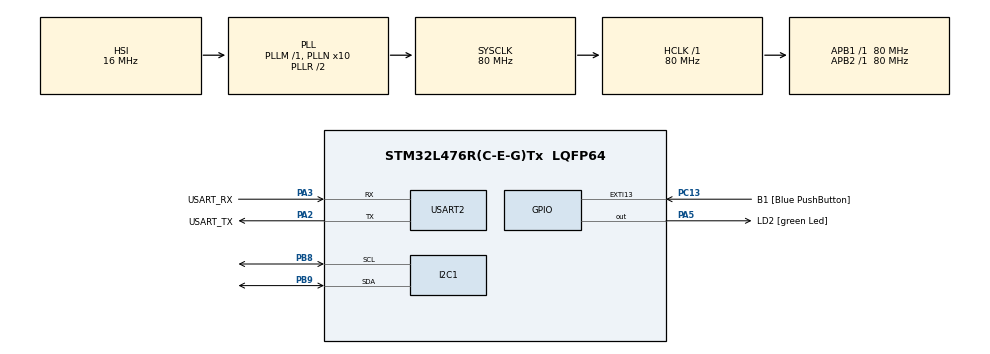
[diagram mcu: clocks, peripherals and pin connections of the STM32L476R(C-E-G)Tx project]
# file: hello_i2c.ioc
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Mcu.Family=STM32L4
PA2.GPIO_PuPd=GPIO_NOPULL
VP_SYS_VS_tim6.Mode=TIM6
RCC.CortexFreq_Value=80000000
NVIC.TIM6_DAC_IRQn=true\:0\:0\:false\:false\:true\:false\:false\:true
PH0-OSC_IN\ (PH0).Signal=RCC_OSC_IN
PA3.GPIO_PuPd=GPIO_NOPULL
PA2.GPIO_Speed=GPIO_SPEED_FREQ_VERY_HIGH
PC15-OSC32_OUT\ (PC15).Mode=LSE-External-Oscillator
PC13.GPIO_Label=B1 [Blue PushButton]
PA3.GPIO_Speed=GPIO_SPEED_FREQ_VERY_HIGH
RCC.SYSCLKSource=RCC_SYSCLKSOURCE_PLLCLK
ProjectManager.StackSize=0x400
PB3\ (JTDO-TRACESWO).Signal=SYS_JTDO-SWO
PC14-OSC32_IN\ (PC14).Mode=LSE-External-Oscillator
VP_FREERTOS_VS_CMSIS_V2.Mode=CMSIS_V2
PA14\ (JTCK-SWCLK).Signal=SYS_JTCK-SWCLK
RCC.HCLKFreq_Value=80000000
RCC.APB2TimFreq_Value=80000000
RCC.AHBFreq_Value=80000000
RCC.PREFETCH_ENABLE=1
RCC.HSE_VALUE=8000000
USART2.VirtualMode-Asynchronous=VM_ASYNC
PA5.GPIO_PuPd=GPIO_NOPULL
PC13.GPIO_PuPd=GPIO_NOPULL
Mcu.Package=LQFP64
PB9.Signal=I2C1_SDA
NVIC.TimeBase=TIM6_DAC_IRQn
PA2.GPIO_Label=USART_TX
NVIC.TimeBaseIP=TIM6
RCC.APB1TimFreq_Value=80000000
PA13\ (JTMS-SWDIO).Signal=SYS_JTMS-SWDIO
PA3.Signal=USART2_RX
PA2.GPIO_Mode=GPIO_MODE_AF_PP
RCC.MSI_VALUE=4000000
RCC.PLLSourceVirtual=RCC_PLLSOURCE_HSI
PA14\ (JTCK-SWCLK).Mode=Serial_Wire
FREERTOS.Tasks01=bme280Task,24,128,StartBME280Task,Default,NULL,Dynamic,NULL,NULL
PC13.Signal=GPXTI13
PC15-OSC32_OUT\ (PC15).Signal=RCC_OSC32_OUT
PA14\ (JTCK-SWCLK).GPIO_Label=TCK
PB3\ (JTDO-TRACESWO).GPIO_Label=SWO
PH1-OSC_OUT\ (PH1).Signal=RCC_OSC_OUT
PA3.Mode=Asynchronous
ProjectManager.TargetToolchain=STM32CubeIDE
PA3.GPIO_Mode=GPIO_MODE_AF_PP
PB9.Mode=I2C
I2C1.Timing=0x10909CEC
RCC.USBFreq_Value=64000000
PA5.Signal=GPIO_Output
board=NUCLEO-L476RG
RCC.VCOOutputFreq_Value=160000000
RCC.APB2Freq_Value=80000000
PA5.GPIO_ModeDefaultOutputPP=GPIO_MODE_OUTPUT_PP
PA13\ (JTMS-SWDIO).GPIO_Label=TMS
RCC.ADCFreq_Value=64000000
Mcu.Name=STM32L476R(C-E-G)Tx
PA2.Signal=USART2_TX
PA13\ (JTMS-SWDIO).Mode=Serial_Wire
RCC.SYSCLKFreq_VALUE=80000000
PA5.GPIO_Label=LD2 [green Led]
PC13.GPIO_ModeDefaultEXTI=GPIO_MODE_IT_FALLING
PC14-OSC32_IN\ (PC14).Signal=RCC_OSC32_IN
ProjectManager.HeapSize=0x200
RCC.HSI_VALUE=16000000
PA5.GPIO_Speed=GPIO_SPEED_FREQ_LOW
NVIC.PriorityGroup=NVIC_PRIORITYGROUP_4
RCC.PLLN=10
PB8.Mode=I2C
PA2.Mode=Asynchronous
PB8.Signal=I2C1_SCL
RCC.APB1Freq_Value=80000000
PA3.GPIO_Label=USART_RX

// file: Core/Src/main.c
/* USER CODE BEGIN Header */
/**
  ******************************************************************************
  * @file           : main.c
  * @brief          : Main program body
  ******************************************************************************
  * @attention
  *
  * <h2><center>&copy; Copyright (c) 2021 STMicroelectronics.
  * All rights reserved.</center></h2>
  *
  * This software component is licensed by ST under BSD 3-Clause license,
  * the "License"; You may not use this file except in compliance with the
  * License. You may obtain a copy of the License at:
  *                        opensource.org/licenses/BSD-3-Clause
  *
  ******************************************************************************
  */
/* USER CODE END Header */
#include "main.h"
#include "cmsis_os.h"

/* USER CODE BEGIN Includes */
#include <stdlib.h>
#include <string.h>
#include "bme280.h"
#include "tof.h"

/* USER CODE END Includes */

/* USER CODE BEGIN PTD */
#ifdef __GNUC__
	#define PUTCHAR_PROTOTYPE int __io_putchar(int ch)
#else
	#define PUTCHAR_PROTOTYPE int fputc(int ch, FILE *f)
#endif /* __GNUC__ */
/* USER CODE END PTD */

I2C_HandleTypeDef hi2c1;

UART_HandleTypeDef huart2;

/* Definitions for bme280Task */
osThreadId_t bme280TaskHandle;
const osThreadAttr_t bme280Task_attributes = {
  .name = "bme280Task",
  .stack_size = 128 * 4,
  .priority = (osPriority_t) osPriorityNormal,
};

void SystemClock_Config(void);
static void MX_GPIO_Init(void);
static void MX_USART2_UART_Init(void);
static void MX_I2C1_Init(void);
void StartBME280Task(void *argument);

/* USER CODE BEGIN 0 */
PUTCHAR_PROTOTYPE
{
	HAL_UART_Transmit(&huart2, (uint8_t *)&ch, 1, 0xFFFF);
	return ch;
}

float temperature;
float humidity;
float pressure;

struct bme280_dev dev;
struct bme280_data comp_data;
int8_t rslt;

char line1[16];
char line2[16];

int8_t user_i2c_read(uint8_t id, uint8_t reg_addr, uint8_t *data, uint16_t len)
{
  if(HAL_I2C_Master_Transmit(&hi2c1, (id << 1), &reg_addr, 1, 10) != HAL_OK) return -1;
  if(HAL_I2C_Master_Receive(&hi2c1, (id << 1) | 0x01, data, len, 10) != HAL_OK) return -1;

  return 0;
}

void user_delay_ms(uint32_t period)
{
  HAL_Delay(period);
}

int8_t user_i2c_write(uint8_t id, uint8_t reg_addr, uint8_t *data, uint16_t len)
{
  int8_t *buf;
  buf = malloc(len +1);
  buf[0] = reg_addr;
  memcpy(buf +1, data, len);

  if(HAL_I2C_Master_Transmit(&hi2c1, (id << 1), (uint8_t*)buf, len + 1, HAL_MAX_DELAY) != HAL_OK) return -1;

  free(buf);
  return 0;
}

volatile int model = 0;
volatile int revision = 0;

/* USER CODE END 0 */

int main(void)
{

  /* MCU Configuration--------------------------------------------------------*/

  /* Reset of all peripherals, Initializes the Flash interface and the Systick. */
  HAL_Init();

  /* Configure the system clock */
  SystemClock_Config();

  /* Initialize all configured peripherals */
  MX_GPIO_Init();
  MX_USART2_UART_Init();
  MX_I2C1_Init();
  /* USER CODE BEGIN 2 */

  dev.dev_id = BME280_I2C_ADDR_PRIM;
  dev.intf = BME280_I2C_INTF;
  dev.read = user_i2c_read;
  dev.write = user_i2c_write;
  dev.delay_ms = user_delay_ms;

  rslt = bme280_init(&dev);

  dev.settings.osr_h = BME280_OVERSAMPLING_1X;
  dev.settings.osr_p = BME280_OVERSAMPLING_16X;
  dev.settings.osr_t = BME280_OVERSAMPLING_2X;
  dev.settings.filter = BME280_FILTER_COEFF_16;
  rslt = bme280_set_sensor_settings(BME280_OSR_PRESS_SEL | BME280_OSR_TEMP_SEL | BME280_OSR_HUM_SEL | BME280_FILTER_SEL, &dev);

  // Init the VL53L0x
  tofInit(1); // set long range mode (up to 2m)
  tofGetModel(&model, &revision);

  // Re-init the VL53L0X if there is any problems
  while(model != 238 || revision != 16)
  {
  	while(HAL_I2C_DeInit(&hi2c1) != HAL_OK);
  	while(HAL_I2C_Init(&hi2c1) != HAL_OK);
    tofInit(1); // set long range mode (up to 2m)
    tofGetModel(&model, &revision);
  }

  /* USER CODE END 2 */

  /* Init scheduler */
  osKernelInitialize();

  /* Create the thread(s) */
  /* creation of bme280Task */
  bme280TaskHandle = osThreadNew(StartBME280Task, NULL, &bme280Task_attributes);

  /* Start scheduler */
  osKernelStart();

  /* We should never get here as control is now taken by the scheduler */
  /* Infinite loop */
  while (1)
  {

  }
}

void SystemClock_Config(void)
{
  RCC_OscInitTypeDef RCC_OscInitStruct = {0};
  RCC_ClkInitTypeDef RCC_ClkInitStruct = {0};
  RCC_PeriphCLKInitTypeDef PeriphClkInit = {0};

  /** Initializes the RCC Oscillators according to the specified parameters
  * in the RCC_OscInitTypeDef structure.
  */
  RCC_OscInitStruct.OscillatorType = RCC_OSCILLATORTYPE_HSI;
  RCC_OscInitStruct.HSIState = RCC_HSI_ON;
  RCC_OscInitStruct.HSICalibrationValue = RCC_HSICALIBRATION_DEFAULT;
  RCC_OscInitStruct.PLL.PLLState = RCC_PLL_ON;
  RCC_OscInitStruct.PLL.PLLSource = RCC_PLLSOURCE_HSI;
  RCC_OscInitStruct.PLL.PLLM = 1;
  RCC_OscInitStruct.PLL.PLLN = 10;
  RCC_OscInitStruct.PLL.PLLP = RCC_PLLP_DIV7;
  RCC_OscInitStruct.PLL.PLLQ = RCC_PLLQ_DIV2;
  RCC_OscInitStruct.PLL.PLLR = RCC_PLLR_DIV2;
  if (HAL_RCC_OscConfig(&RCC_OscInitStruct) != HAL_OK)
  {
    Error_Handler();
  }
  /** Initializes the CPU, AHB and APB buses clocks
  */
  RCC_ClkInitStruct.ClockType = RCC_CLOCKTYPE_HCLK|RCC_CLOCKTYPE_SYSCLK
                              |RCC_CLOCKTYPE_PCLK1|RCC_CLOCKTYPE_PCLK2;
  RCC_ClkInitStruct.SYSCLKSource = RCC_SYSCLKSOURCE_PLLCLK;
  RCC_ClkInitStruct.AHBCLKDivider = RCC_SYSCLK_DIV1;
  RCC_ClkInitStruct.APB1CLKDivider = RCC_HCLK_DIV1;
  RCC_ClkInitStruct.APB2CLKDivider = RCC_HCLK_DIV1;

  if (HAL_RCC_ClockConfig(&RCC_ClkInitStruct, FLASH_LATENCY_4) != HAL_OK)
  {
    Error_Handler();
  }
  PeriphClkInit.PeriphClockSelection = RCC_PERIPHCLK_USART2|RCC_PERIPHCLK_I2C1;
  PeriphClkInit.Usart2ClockSelection = RCC_USART2CLKSOURCE_PCLK1;
  PeriphClkInit.I2c1ClockSelection = RCC_I2C1CLKSOURCE_PCLK1;
  if (HAL_RCCEx_PeriphCLKConfig(&PeriphClkInit) != HAL_OK)
  {
    Error_Handler();
  }
  /** Configure the main internal regulator output voltage
  */
  if (HAL_PWREx_ControlVoltageScaling(PWR_REGULATOR_VOLTAGE_SCALE1) != HAL_OK)
  {
    Error_Handler();
  }
}

static void MX_I2C1_Init(void)
{

  hi2c1.Instance = I2C1;
  hi2c1.Init.Timing = 0x10909CEC;
  hi2c1.Init.OwnAddress1 = 0;
  hi2c1.Init.AddressingMode = I2C_ADDRESSINGMODE_7BIT;
  hi2c1.Init.DualAddressMode = I2C_DUALADDRESS_DISABLE;
  hi2c1.Init.OwnAddress2 = 0;
  hi2c1.Init.OwnAddress2Masks = I2C_OA2_NOMASK;
  hi2c1.Init.GeneralCallMode = I2C_GENERALCALL_DISABLE;
  hi2c1.Init.NoStretchMode = I2C_NOSTRETCH_DISABLE;
  if (HAL_I2C_Init(&hi2c1) != HAL_OK)
  {
    Error_Handler();
  }
  /** Configure Analogue filter
  */
  if (HAL_I2CEx_ConfigAnalogFilter(&hi2c1, I2C_ANALOGFILTER_ENABLE) != HAL_OK)
  {
    Error_Handler();
  }
  /** Configure Digital filter
  */
  if (HAL_I2CEx_ConfigDigitalFilter(&hi2c1, 0) != HAL_OK)
  {
    Error_Handler();
  }

}

static void MX_USART2_UART_Init(void)
{

  huart2.Instance = USART2;
  huart2.Init.BaudRate = 115200;
  huart2.Init.WordLength = UART_WORDLENGTH_8B;
  huart2.Init.StopBits = UART_STOPBITS_1;
  huart2.Init.Parity = UART_PARITY_NONE;
  huart2.Init.Mode = UART_MODE_TX_RX;
  huart2.Init.HwFlowCtl = UART_HWCONTROL_NONE;
  huart2.Init.OverSampling = UART_OVERSAMPLING_16;
  huart2.Init.OneBitSampling = UART_ONE_BIT_SAMPLE_DISABLE;
  huart2.AdvancedInit.AdvFeatureInit = UART_ADVFEATURE_NO_INIT;
  if (HAL_UART_Init(&huart2) != HAL_OK)
  {
    Error_Handler();
  }

}

static void MX_GPIO_Init(void)
{
  GPIO_InitTypeDef GPIO_InitStruct = {0};

  /* GPIO Ports Clock Enable */
  __HAL_RCC_GPIOC_CLK_ENABLE();
  __HAL_RCC_GPIOH_CLK_ENABLE();
  __HAL_RCC_GPIOA_CLK_ENABLE();
  __HAL_RCC_GPIOB_CLK_ENABLE();

  /*Configure GPIO pin Output Level */
  HAL_GPIO_WritePin(LD2_GPIO_Port, LD2_Pin, GPIO_PIN_RESET);

  /*Configure GPIO pin : B1_Pin */
  GPIO_InitStruct.Pin = B1_Pin;
  GPIO_InitStruct.Mode = GPIO_MODE_IT_FALLING;
  GPIO_InitStruct.Pull = GPIO_NOPULL;
  HAL_GPIO_Init(B1_GPIO_Port, &GPIO_InitStruct);

  /*Configure GPIO pin : LD2_Pin */
  GPIO_InitStruct.Pin = LD2_Pin;
  GPIO_InitStruct.Mode = GPIO_MODE_OUTPUT_PP;
  GPIO_InitStruct.Pull = GPIO_NOPULL;
  GPIO_InitStruct.Speed = GPIO_SPEED_FREQ_LOW;
  HAL_GPIO_Init(LD2_GPIO_Port, &GPIO_InitStruct);

}

void StartBME280Task(void *argument)
{
  /* USER CODE BEGIN 5 */

	// BME280
	const uint8_t bme280_address = 0x76;

	const uint8_t vl53l0x_address = 0x29;

	uint8_t tData = 0x61; //0xD0;
	uint8_t rData[1000];

  /* Infinite loop */
  for(;;)
  {

  	//HAL_I2C_Master_Transmit(&hi2c1, (0x76<<1) | (0x00), &tData, 1, 50);
  	//HAL_I2C_Master_Receive(&hi2c1, (0x76<<1) | (0x01), rData, sizeof(rData), 50);

  	////HAL_I2C_Mem_Read(&hi2c1, (0x76<<1) | (0x01), 0xD0, 1, &rData, sizeof(rData), 50);

  	//HAL_I2C_Master_Receive(hi2c, (0x76<<1) | (0x01), &rData, 1, 50);

  	/*
  	HAL_I2C_Mem_Write(hi2c, (0x76<<1) | (0x00), MemAddress, MemAddSize, pData, Size, Timeout);
  	HAL_I2C_Mem_Read(hi2c, (0x76<<1) | (0x01), MemAddress, MemAddSize, pData, Size, Timeout);
		*/

  	/*
  	// Temp
  	uint8_t registerAddress = 0xFA;
  	HAL_I2C_Master_Transmit(hi2c, (0x76<<1) | (0x00), &registerAddress, 1, 50);
  	HAL_I2C_Mem_Write(hi2c, (0x76<<1) | (0x00), registerAddress, 1, pData, 1, 50);
		*/

  	/*
		printf("TestBeg\r\n");

  	rslt = bme280_set_sensor_mode(BME280_FORCED_MODE, &dev);
  	dev.delay_ms(40);
		rslt = bme280_get_sensor_data(BME280_ALL, &comp_data, &dev);

		if(rslt == BME280_OK)
		{
			int32_t lTemperature = comp_data.temperature;
			temperature = lTemperature / 100.0;      // °C
			humidity = comp_data.humidity / 1024.0;           // %
			pressure = comp_data.pressure / 10000.0;          // hPa

			//memset(line1, 0, sizeof(line1));
			//memset(line1, 0, sizeof(line2));
			//printf("TEMP: %03.1f\r\n", temperature);

			printf("TEMP: %l\r\n", lTemperature);

			//sprintf(line1, "HUMID: %03.1f ", humidity);
			//sprintf(line2, "TEMP: %03.1f ", temperature);
		}

		printf("TestEnd\r\n");
  	 */

  	/////
  	//HAL_I2C_Master_Transmit(&hi2c1, (vl53l0x_address<<1) | (0x00), &tData, 1, 50);
  	// osDelay(500);

  	/////
  	//printf("%d\r\n", model);
  	//osDelay(500);

  	/////
  	uint16_t distance = tofReadDistance();
  	//printf("Distance: %u\r\n", distance);
  	HAL_UART_Transmit(&huart2, (uint8_t *)&distance, 2, 0xFFFF);

  	osDelay(50);

  }
  /* USER CODE END 5 */
}

 /**
  * @brief  Period elapsed callback in non blocking mode
  * @note   This function is called  when TIM6 interrupt took place, inside
  * HAL_TIM_IRQHandler(). It makes a direct call to HAL_IncTick() to increment
  * a global variable "uwTick" used as application time base.
  * @param  htim : TIM handle
  * @retval None
  */
void HAL_TIM_PeriodElapsedCallback(TIM_HandleTypeDef *htim)
{
  if (htim->Instance == TIM6) {
    HAL_IncTick();
  }
}

void Error_Handler(void)
{
  __disable_irq();
  while (1)
  {
  }
}

/************************ (C) COPYRIGHT STMicroelectronics *****END OF FILE****/
